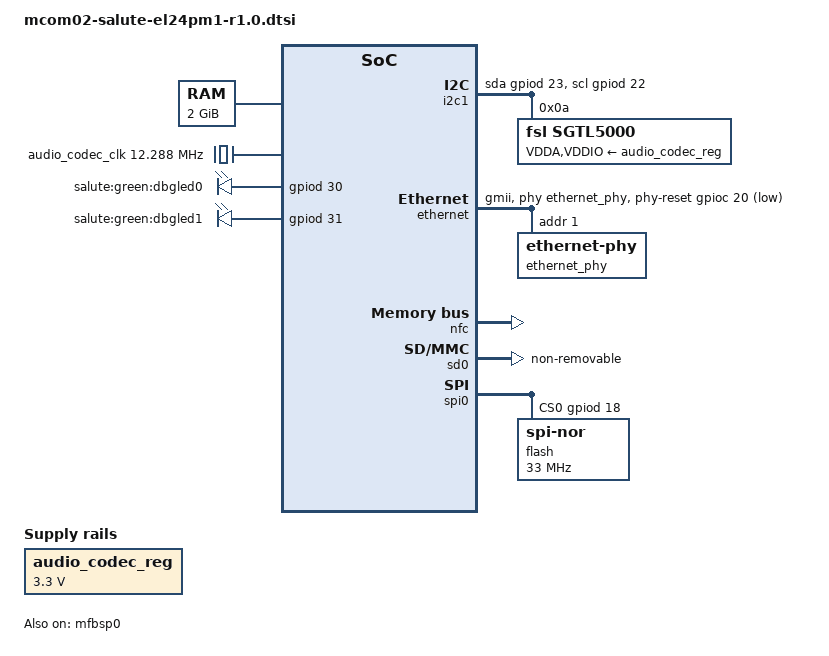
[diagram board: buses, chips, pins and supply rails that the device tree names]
/*
 * Copyright 2017 RnD Center "ELVEES", JSC
 *
 * This program is free software; you can redistribute it and/or modify
 * it under the terms of the GNU General Public License version 2 as
 * published by the Free Software Foundation.
 */

#include <dt-bindings/gpio/gpio.h>

#include "mcom02.dtsi"

/ {
	memory {
		device_type = "memory";
		reg = <0x40000000 0x40000000>,
		      <0xa0000000 0x40000000>;
	};

	clocks {
		audio_codec_clk: audio_codec_clk {
			#clock-cells = <0>;
			compatible = "fixed-clock";
			clock-frequency = <12288000>;
		};
	};

	/delete-node/ i2c@3802d000;
	/delete-node/ i2c@3802e000;

	i2c1: i2c1 {
		#address-cells = <1>;
		#size-cells = <0>;
		compatible = "i2c-gpio";
		gpios = <&gpiod 23 0>, <&gpiod 22 0>;

		sgtl5000: audio-codec@0a {
			#sound-dai-cells = <0>;
			compatible = "fsl,sgtl5000";
			reg = <0x0a>;
			clocks = <&audio_codec_clk>;
			VDDA-supply = <&audio_codec_reg>;
			VDDIO-supply = <&audio_codec_reg>;
		};
	};

	leds {
		compatible = "gpio-leds";

		dbgled0 {
			label = "salute:green:dbgled0";
			gpios = <&gpiod 30 GPIO_ACTIVE_HIGH>;
			linux,default-trigger = "heartbeat";
		};

		dbgled1 {
			label = "salute:green:dbgled1";
			gpios = <&gpiod 31 GPIO_ACTIVE_HIGH>;
			linux,default-trigger = "mmc0";
		};
	};

	regulators {
		#address-cells = <1>;
		#size-cells = <0>;
		compatible = "simple-bus";

		audio_codec_reg: regulator@0 {
			compatible = "regulator-fixed";
			reg = <0x0>;
			regulator-name = "audio-codec";
			regulator-min-microvolt = <3300000>;
			regulator-max-microvolt = <3300000>;
			regulator-always-on;
		};
	};

	sound: sound {
		compatible = "simple-audio-card";
		simple-audio-card,name = "Salute-EL24PM1";
		simple-audio-card,format = "i2s";
		simple-audio-card,bitclock-master = <&dailink0_master>;
		simple-audio-card,frame-master = <&dailink0_master>;
		status = "disabled";

		simple-audio-card,cpu {
			sound-dai = <&mfbsp0>;
		};

		dailink0_master: simple-audio-card,codec {
			sound-dai = <&sgtl5000>;
		};
	};
};

&ethernet {
	#address-cells = <1>;
	#size-cells = <0>;
	phy-mode = "gmii";
	phy-handle = <&ethernet_phy>;
	phy-reset-gpios = <&gpioc 20 GPIO_ACTIVE_LOW>;
	txclk-125en-gpios = <&gpioa 3 GPIO_ACTIVE_HIGH>;

	ethernet_phy: ethernet-phy@1 {
		reg = <0x1>;
	};
};

&mfbsp0 {
	status = "okay";
};

&nfc {
	status = "okay";
};

&sd0 {
	/* Connected to eMMC */
	status = "okay";
	non-removable;
};

&spi0 {
	status = "okay";
	num-cs = <1>;
	/* Third argument of "cs-gpios" property is set to 0,
	 * because it is ignored by the SPI driver. */
	cs-gpios = <&gpiod 18 0>;

	flash: flash@0 {
		#address-cells = <1>;
		#size-cells = <1>;
		compatible = "jedec,spi-nor", "spi-flash";
		reg = <0x0>;
		/* Max clock frequency, specified in the M25P32 Serial Flash
		 * Memory datasheet, is 33 MHz for read commands and 75 MHz
		 * for other commands. */
		spi-max-frequency = <33000000>;
		m25p,fast-read;
		u-boot,dm-pre-reloc;
	};
};
